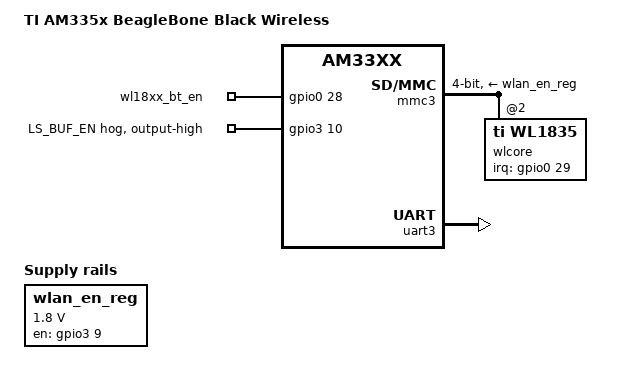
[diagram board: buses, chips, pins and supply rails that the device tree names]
/*
 * Copyright (C) 2012 Texas Instruments Incorporated - http://www.ti.com/
 *
 * This program is free software; you can redistribute it and/or modify
 * it under the terms of the GNU General Public License version 2 as
 * published by the Free Software Foundation.
 */
/dts-v1/;

#include <dt-bindings/interrupt-controller/irq.h>
#include "am335x-boneblack.dtsi"

/ {
	model = "TI AM335x BeagleBone Black Wireless";
	compatible = "ti,am335x-bone-black-wireless", "ti,am335x-bone", "ti,am33xx";

	wlan_en_reg: fixedregulator@2 {
		compatible = "regulator-fixed";
		regulator-name = "wlan-en-regulator";
		regulator-min-microvolt = <1800000>;
		regulator-max-microvolt = <1800000>;
		startup-delay-us= <70000>;

		/* WL_EN */
		gpio = <&gpio3 9 0>;
		enable-active-high;
	};

	leds {
		pinctrl-names = "default";
		pinctrl-0 = <&wl18xx_pins>;
		compatible = "gpio-leds";

		wl18xx_bt_en {
			label = "wl18xx_bt_en";
			gpios = <&gpio0 28 GPIO_ACTIVE_HIGH>;
			default-state = "off";
		};
	};
};

&am33xx_pinmux {
	wl18xx_pins: pinmux_wl18xx_pins {
		pinctrl-single,pins = <
			AM33XX_IOPAD(0x928, PIN_OUTPUT_PULLUP | MUX_MODE7)	/* (K17) gmii1_txd0.gpio0[28] - BT_EN */
		>;
	};

	wlbtbuf_pin: pinmux_wlbtbuf_pin {
		pinctrl-single,pins = <
			AM33XX_IOPAD(0x930, PIN_OUTPUT_PULLUP | MUX_MODE7)	/* (L18) gmii1_rxclk.gpio3[10] - LS_BUF_EN */
		>;
	};

	mmc3_pins: pinmux_mmc3_pins {
		pinctrl-single,pins = <
			AM33XX_IOPAD(0x93c, PIN_INPUT_PULLUP | MUX_MODE6)	/* (L15) gmii1_rxd1.mmc2_clk */
			AM33XX_IOPAD(0x914, PIN_INPUT_PULLUP | MUX_MODE6)	/* (J16) gmii1_txen.mmc2_cmd */
			AM33XX_IOPAD(0x918, PIN_INPUT_PULLUP | MUX_MODE5)	/* (J17) gmii1_rxdv.mmc2_dat0 */
			AM33XX_IOPAD(0x91c, PIN_INPUT_PULLUP | MUX_MODE5)	/* (J18) gmii1_txd3.mmc2_dat1 */
			AM33XX_IOPAD(0x920, PIN_INPUT_PULLUP | MUX_MODE5)	/* (K15) gmii1_txd2.mmc2_dat2 */
			AM33XX_IOPAD(0x908, PIN_INPUT_PULLUP | MUX_MODE5)	/* (H16) gmii1_col.mmc2_dat3 */
		>;
	};

	mmc3_pins_sleep: pinmux_mmc3_pins_sleep {
		pinctrl-single,pins = <
			AM33XX_IOPAD(0x93c, PIN_INPUT_PULLDOWN | MUX_MODE6)	/* (L15) gmii1_rxd1.mmc2_clk */
			AM33XX_IOPAD(0x914, PIN_INPUT_PULLDOWN | MUX_MODE6)	/* (J16) gmii1_txen.mmc2_cmd */
			AM33XX_IOPAD(0x918, PIN_INPUT_PULLDOWN | MUX_MODE5)	/* (J17) gmii1_rxdv.mmc2_dat0 */
			AM33XX_IOPAD(0x91c, PIN_INPUT_PULLDOWN | MUX_MODE5)	/* (J18) gmii1_txd3.mmc2_dat1 */
			AM33XX_IOPAD(0x920, PIN_INPUT_PULLDOWN | MUX_MODE5)	/* (K15) gmii1_txd2.mmc2_dat2 */
			AM33XX_IOPAD(0x908, PIN_INPUT_PULLDOWN | MUX_MODE5)	/* (H16) gmii1_col.mmc2_dat3 */
		>;
	};

	/* wl18xx card enable/irq GPIOs. */
	wlan_pins: pinmux_wlan_pins {
		pinctrl-single,pins = <
			AM33XX_IOPAD(0x92c, PIN_OUTPUT_PULLDOWN | MUX_MODE7)	/* (K18) gmii1_txclk.gpio3[9] - WL_EN */
			AM33XX_IOPAD(0x944, PIN_INPUT_PULLDOWN | MUX_MODE7)	/* (H18) rmii1_refclk.gpio0[29] - WL_IRQ */
		>;
	};

	/* wl18xx card enable/irq GPIOs. */
	wlan_pins_sleep: pinmux_wlan_pins_sleep {
		pinctrl-single,pins = <
			AM33XX_IOPAD(0x92c, PIN_OUTPUT_PULLDOWN | MUX_MODE7)	/* (K18) gmii1_txclk.gpio3[9] - WL_EN */
			AM33XX_IOPAD(0x944, PIN_INPUT_PULLDOWN | MUX_MODE7)	/* (H18) rmii1_refclk.gpio0[29] - WL_IRQ */
		>;
	};

	uart3_pins_default: pinmux_uart3_pins_default {
		pinctrl-single,pins = <
			AM33XX_IOPAD(0x934, PIN_INPUT_PULLUP | MUX_MODE1)	/* (L17) gmii1_rxd3.uart3_rxd */
			AM33XX_IOPAD(0x938, PIN_OUTPUT_PULLDOWN | MUX_MODE1)	/* (L16) gmii1_rxd2.uart3_txd */
			AM33XX_IOPAD(0x948, PIN_INPUT | MUX_MODE3)		/* (M17) mdio_data.uart3_ctsn */
			AM33XX_IOPAD(0x94c, PIN_OUTPUT_PULLDOWN | MUX_MODE3)	/* (M18) mdio_clk.uart3_rtsn */
		>;
	};

	uart3_pins_sleep: pinmux_uart3_pins_sleep {
		pinctrl-single,pins = <
			AM33XX_IOPAD(0x934, PIN_INPUT_PULLDOWN | MUX_MODE7)	/* (L17) gmii1_rxd3.uart3_rxd */
			AM33XX_IOPAD(0x938, PIN_INPUT_PULLDOWN | MUX_MODE7)	/* (L16) gmii1_rxd2.uart3_txd */
			AM33XX_IOPAD(0x948, PIN_INPUT_PULLDOWN | MUX_MODE7)	/* (M17) mdio_data.uart3_ctsn */
			AM33XX_IOPAD(0x94c, PIN_INPUT_PULLDOWN | MUX_MODE7)	/* (M18) mdio_clk.uart3_rtsn */
		>;
	};
};

&mmc3 {
	status = "okay";
	dmas = <&edma_xbar 12 0 1
		&edma_xbar 13 0 2>;
	dma-names = "tx", "rx";
	status = "okay";
	vmmc-supply = <&wlan_en_reg>;
	bus-width = <4>;
	pinctrl-names = "default", "sleep";
	pinctrl-0 = <&mmc3_pins &wlan_pins &wlbtbuf_pin>;
	pinctrl-1 = <&mmc3_pins_sleep &wlan_pins_sleep &wlbtbuf_pin>;
	ti,non-removable;
	ti,needs-special-hs-handling;
	cap-power-off-card;
	keep-power-in-suspend;

	#address-cells = <1>;
	#size-cells = <0>;
	wlcore: wlcore@0 {
		compatible = "ti,wl1835";
		reg = <2>;
		interrupt-parent = <&gpio0>;
		interrupts = <29 IRQ_TYPE_EDGE_RISING>;
	};
};

&uart3 {
	pinctrl-names = "default", "sleep";
	pinctrl-0 = <&uart3_pins_default>;
	pinctrl-1 = <&uart3_pins_sleep>;
	status = "okay";
};

&gpio3 {
	ls_buf_en {
		gpio-hog;
		gpios = <10 GPIO_ACTIVE_HIGH>;
		output-high;
		line-name = "LS_BUF_EN";
	};
};

&mac {
	status = "disabled";
};
